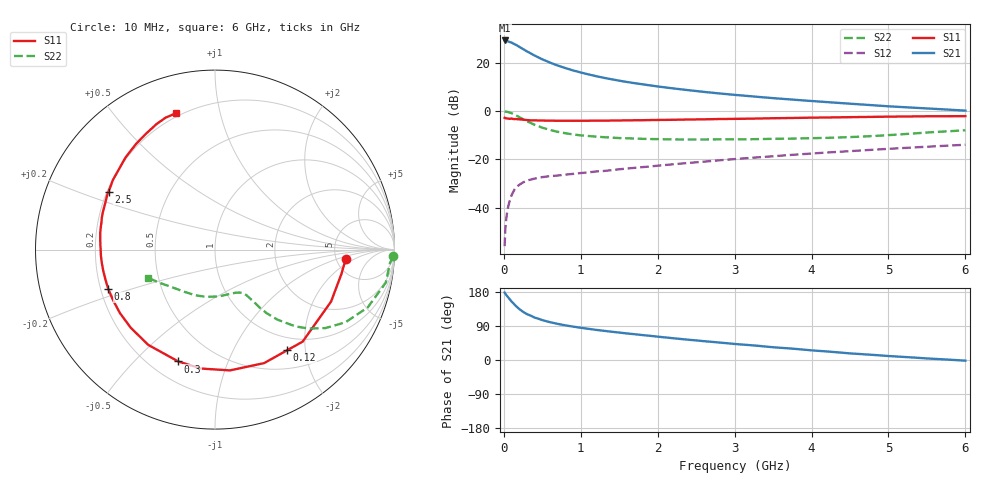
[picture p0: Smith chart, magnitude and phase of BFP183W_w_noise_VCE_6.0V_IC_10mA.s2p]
! Infineon Technologies  Discrete & RF Semiconductors
! BFP183W
! VCE =  6.0 V,  IC =  10 mA
! Common Emitter S-Parameters:  Jan 2017
# GHz  S  MA  R  50
!  f  S11  S21  S12  S22
! GHz  MAG  ANG  MAG  ANG  MAG  ANG  MAG  ANG
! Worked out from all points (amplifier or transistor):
!   77 points, 10 MHz to 6 GHz, reference 50 ohm
!   highest |S21| = 29.3 dB at 10 MHz (marker M1)
!   |S21| within 3 dB of that: start of sweep to 220 MHz
!   unconditionally stable (mu >= 1): 1.679 GHz to 3.907 GHz
!   at 130 MHz: K = 0.14, MSG = 30.4 dB, |S12| = -33.0 dB
!   at 2.2 GHz: K = 1.06, MAG = 14.2 dB, |S12| = -22.0 dB
!   at 6 GHz: K = 0.85, MSG = 7.1 dB, |S12| = -13.9 dB
!   lowest NFmin = 0.92 dB at 450 MHz
!   S11 on the Smith chart (normalised r, x): 10 MHz: 6.10, -1.37; 120 MHz: 0.78, -1.67; 300 MHz: 0.31, -0.68; 800 MHz: 0.23, -0.17; 2.5 GHz: 0.21, +0.24; 6 GHz: 0.18, +0.74
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0.01  0.7303 -4.1  29.2 178.0  0.0016 97.1  0.9941 -2.2
0.02  0.717 -11.1  28.84 174.5  0.0038 95.9  0.9775 -4.4
0.05  0.7086 -24.1  28.16 166.8  0.0094 79.1  0.9697 -10.9
0.1  0.7081 -46.4  26.42 154.4  0.0181 69.6  0.9095 -20.8
0.12  0.6901 -54.3  25.37 150.4  0.021 65.4  0.8765 -23.9
0.15  0.6891 -66.6  24.05 143.8  0.0256 61.0  0.8325 -29.1
0.2  0.6782 -82.9  21.58 134.7  0.0298 55.0  0.7547 -35.4
0.25  0.6673 -96.8  19.37 127.1  0.0335 49.2  0.6832 -40.1
0.3  0.656 -108.2  17.33 121.2  0.0365 45.3  0.6189 -43.7
0.4  0.6482 -125.0  14.21 111.9  0.0402 42.1  0.5227 -48.3
0.5  0.6402 -137.2  11.86 105.2  0.0431 39.5  0.4562 -50.9
0.6  0.6369 -146.3  10.16 99.8  0.0452 37.5  0.4083 -52.4
0.8  0.634 -159.7  7.823 91.4  0.0485 39.4  0.3497 -53.8
0.9  0.6327 -164.8  6.988 88.1  0.0503 39.7  0.3306 -54.5
1.1  0.6349 -173.2  5.787 82.3  0.0541 41.0  0.306 -55.6
1.5  0.6428 174.2  4.288 72.4  0.0627 44.2  0.278 -59.5
2.1  0.6607 159.4  3.108 59.6  0.0769 48.1  0.2619 -69.0
2.5  0.6755 151.4  2.617 51.7  0.0874 49.6  0.2593 -77.6
3.1  0.6967 140.6  2.113 40.8  0.1048 49.9  0.2618 -91.2
4.1  0.7377 125.5  1.585 24.0  0.136 48.0  0.2782 -115.7
5.1  0.7736 114.2  1.237 9.3  0.1695 44.0  0.3267 -141.4
6  0.7904 105.8  1.029 -1.8  0.2019 39.0  0.403 -156.9
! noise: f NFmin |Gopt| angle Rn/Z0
0.45  0.92  0.1  112  0.11
0.9  0.97  0.18  144  0.09
1.9  1.47  0.37  -176  0.07
2.4  1.72  0.44  -167  0.09
